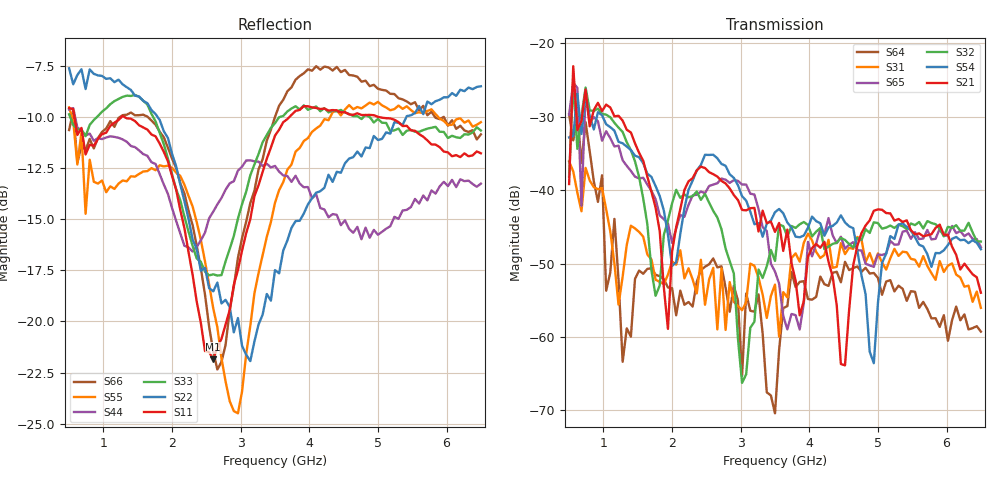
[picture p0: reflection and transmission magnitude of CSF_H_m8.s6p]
!Keysight Technologies,M9804A,MY58100912,A.14.10.03
!Date: Thursday, April 27, 2023 10:28:33
!Correction: S11(C  6-Port  )
!S12(C  6-Port  )
!S13(C  6-Port  )
!S14(C  6-Port  )
!S15(C  6-Port  )
!S16(C  6-Port  )
!S21(C  6-Port  )
!S22(C  6-Port  )
!S23(C  6-Port  )
!S24(C  6-Port  )
!S25(C  6-Port  )
!S26(C  6-Port  )
!S31(C  6-Port  )
!S32(C  6-Port  )
!S33(C  6-Port  )
!S34(C  6-Port  )
!S35(C  6-Port  )
!S36(C  6-Port  )
!S41(C  6-Port  )
!S42(C  6-Port  )
!S43(C  6-Port  )
!S44(C  6-Port  )
!S45(C  6-Port  )
!S46(C  6-Port  )
!S51(C  6-Port  )
!S52(C  6-Port  )
!S53(C  6-Port  )
!S54(C  6-Port  )
!S55(C  6-Port  )
!S56(C  6-Port  )
!S61(C  6-Port  )
!S62(C  6-Port  )
!S63(C  6-Port  )
!S64(C  6-Port  )
!S65(C  6-Port  )
!S66(C  6-Port  )
!S6P File: Measurement: :
# Hz S  RI  R 50
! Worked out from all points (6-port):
!   101 points, 500 MHz to 6.5 GHz, reference 50 ohm
!   strongest paths, dB at 500 MHz, 2 GHz, 3.5 GHz, 5 GHz, 6.5 GHz:
!     S21: -39.2, -48.4, -45.7, -42.6, -54.0
!     S54: -32.8, -50.3, -43.0, -55.3, -48.0
!     S32: -38.1, -41.8, -49.6, -44.5, -47.0
!     S65: -29.7, -47.2, -51.1, -48.7, -47.7
!     S31: -36.1, -49.7, -52.9, -48.6, -56.0
!     S64: -29.7, -53.3, -70.4, -51.9, -59.3
!   lowest |S11| = -21.9 dB at 2.6 GHz (marker M1), VSWR 1.18, Z = 42.8 + j1.96 ohm
!   |S11| at or under -10 dB: 578.4 MHz to 1.266 GHz (687.1 MHz wide, 74.5 % of centre); 1.306 GHz to 3.71 GHz (2.404 GHz wide, 95.9 % of centre); 5.013 GHz to end of sweep
